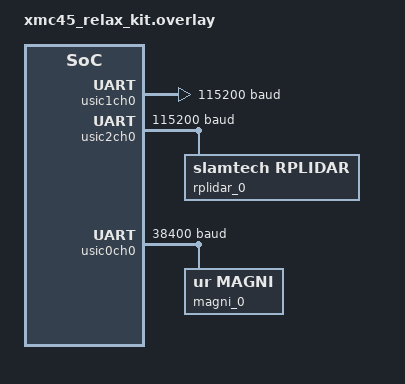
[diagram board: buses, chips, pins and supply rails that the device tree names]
/*
 * Copyright (c) 2025-2026 Tilmann Unte
 * SPDX-License-Identifier:  Apache-2.0
*/

/ {
	chosen {
		zephyr,console = &usic1ch0;
		zephyr,shell-uart = &usic1ch0;
	};
};

&usic1ch1 {
/*	compatible = "infineon,xmc4xxx-uart";
	current-speed = <115200>;
	pinctrl-0 = <&uart_tx_p0_1_u1c1 &uart_rx_p0_0_u1c1>;
	pinctrl-names = "default";
	input-src = "DX0D";
	interrupts = <90 1 91 1>;
	interrupt-names = "tx", "rx";
	fifo-start-offset = <0>;
	fifo-tx-size = <16>;
	fifo-rx-size = <16>;*/
	status = "disabled";
};

&eth {
	status = "disabled";
/*	pinctrl-0 = <&eth_p2_4_rxer &eth_p2_2_rxd0 &eth_p2_3_rxd1
		     &eth_p15_8_clk_rmii &eth_p15_9_crs_dv &eth_p2_5_tx_en
		     &eth_p2_8_txd0 &eth_p2_9_txd1>;
	pinctrl-names = "default";

	rxer-port-ctrl = "P2_4";
	rxd0-port-ctrl = "P2_2";
	rxd1-port-ctrl = "P2_3";
	rmii-rx-clk-port-ctrl = "P15_8";
	crs-rx-dv-port-ctrl = "P15_9";

	phy-connection-type = "rmii";
	phy-handle = <&phy>;*/
};

&mdio {
	status = "disabled";
/*
	mdi-port-ctrl = "P2_0";
	pinctrl-0 = <&eth_p2_0_mdo &eth_p2_7_mdc>;
	pinctrl-names = "default";

	phy: ethernet-phy@0 {
		compatible = "ethernet-phy";
		reg = <0>;
	};
	*/
};

&rtc {
	status = "disabled";
};

&usic1ch0 {
	compatible = "infineon,xmc4xxx-uart";
	current-speed = <115200>;
	pinctrl-0 = <&uart_tx_p2_14_u1c0 &uart_rx_p2_15_u1c0>;
	pinctrl-names = "default";
	input-src = "DX0C";
	interrupts = <90 1 91 1>; // TODO
	interrupt-names = "tx", "rx";
	fifo-start-offset = <0>;
	fifo-tx-size = <16>;
	fifo-rx-size = <16>;
	data-bits = <8>;
	stop-bits = "1";
	status = "okay";
};

&usic2ch0 {
	compatible = "infineon,xmc4xxx-uart";
	current-speed = <115200>;
	pinctrl-0 = <&uart_tx_p5_0_u2c0 &uart_rx_p5_1_u2c0>;
	pinctrl-names = "default";
	input-src = "DX0A"; /* Adjust if you want a different input pin! See p. 17-228 in the XMC45 manual */
	interrupts = <96 1 97 1>; // FIXME: Please review this!
	interrupt-names = "tx", "rx";
	fifo-start-offset = <0>;
	fifo-tx-size = <16>;  /* This was copied from the board config */
	fifo-rx-size = <16>; /* See above comment */
	data-bits = <8>;
	stop-bits = "1";
	status = "okay";
	
	rplidar_0 {
		compatible = "slamtech,rplidar";
		status = "okay";
		/*pwms = <&pwm_ccu42 3 65536 PWM_POLARITY_NORMAL>;*/
	};
};

&usic0ch0 {
	compatible = "infineon,xmc4xxx-uart";
	current-speed = <38400>;
	pinctrl-0 = <&uart_tx_p1_5_u0c0 &uart_rx_p1_4_u0c0>;
	pinctrl-names = "default";
	input-src = "DX0B"; /* Adjust if you want a different input pin! See p. 17-228 in the XMC45 manual */
	interrupts = <84 1 85 1>; // FIXME: Please review this!
	interrupt-names = "tx", "rx";
	fifo-start-offset = <0>; /* Every USIC has a FIFO shared between two channels */
	fifo-tx-size = <16>;  /* This was copied from the board config */
	fifo-rx-size = <16>; /* See above comment */
	data-bits = <8>;
	stop-bits = "1";
	status = "okay";
	
	magni_0 {
		compatible = "ur,magni";
	};
};

/* The following values were all copied from the standard board config */
&uart_tx_p5_0_u2c0 {
	drive-strength = "strong-soft-edge";
	drive-push-pull;
	hwctrl = "disabled";
};

&uart_rx_p5_1_u2c0 {
	drive-strength = "strong-soft-edge";
	hwctrl = "disabled";
};

&uart_tx_p1_5_u0c0 {
	drive-strength = "strong-soft-edge";
	drive-push-pull;
	hwctrl = "disabled";
};

&uart_rx_p1_4_u0c0 {
	drive-strength = "strong-soft-edge";
	hwctrl = "disabled";
};

&uart_tx_p2_14_u1c0 {
	drive-strength = "strong-soft-edge";
	drive-push-pull;
	hwctrl = "disabled";
};

&uart_rx_p2_15_u1c0 {
	drive-strength = "strong-soft-edge";
	hwctrl = "disabled";
};
